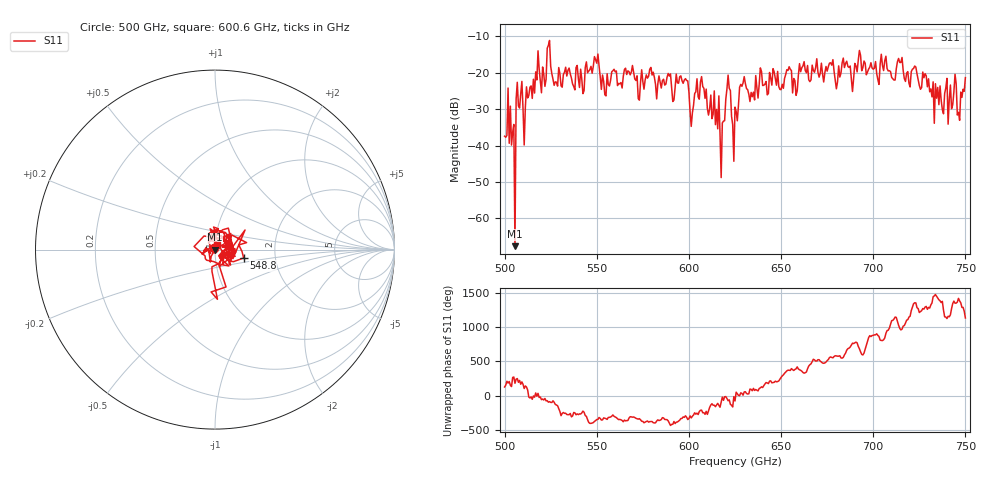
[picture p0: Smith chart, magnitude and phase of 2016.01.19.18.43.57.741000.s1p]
!Created with skrf (http://scikit-rf.org).
# GHz S RI R 50.0
!freq ReS11 ImS11
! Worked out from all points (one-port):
!   401 points, 500 GHz to 750 GHz, reference 50 ohm
!   lowest |S11| = -67.6 dB at 505.6 GHz (marker M1), VSWR 1.00, Z = 50 - j0.000469 ohm
!   |S11| at or under -10 dB: start of sweep to end of sweep
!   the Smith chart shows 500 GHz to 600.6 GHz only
!   S11 on the Smith chart (normalised r, x): 500 GHz: 0.98, +0.02; 548.8 GHz: 1.37, -0.13; 600.6 GHz: 1.02, +0.05
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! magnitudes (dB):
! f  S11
! 500 GHz  -37.4
! 501.9 GHz  -24.2
! 505.6 GHz  -67.6
! 508.1 GHz  -29.7
! 511.2 GHz  -29.5
! 523.8 GHz  -12.5
! 527.5 GHz  -22.5
! 531.2 GHz  -24.0
! 548.8 GHz  -15.6
! 553.8 GHz  -22.4
! 559.4 GHz  -19.0
! 562.5 GHz  -23.1
! 593.8 GHz  -22.8
! 598.8 GHz  -22.1
! 600.6 GHz  -30.7
! 607.5 GHz  -23.8
! 618.1 GHz  -33.8
! 621.2 GHz  -20.7
! 625 GHz  -29.4
! 628.8 GHz  -23.7
! 656.2 GHz  -25.5
! 687.5 GHz  -18.2
! 705.6 GHz  -19.4
! 710.6 GHz  -21.7
! 714.4 GHz  -17.2
! 718.8 GHz  -19.7
! 746.9 GHz  -33.1
! 750 GHz  -21.4
